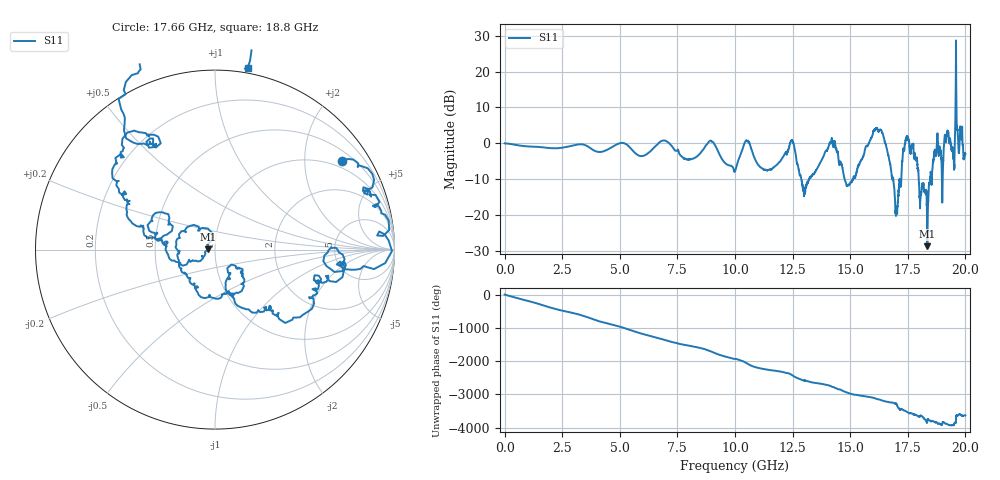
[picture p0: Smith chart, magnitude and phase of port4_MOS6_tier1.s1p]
! Created with skrf 1.8.0 (http://scikit-rf.org).
# GHz S RI R 50.0
!freq ReS11 ImS11
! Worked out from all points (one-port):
!   10001 points, 1 MHz to 20 GHz, reference 50 ohm
!   lowest |S11| = -28.7 dB at 18.35 GHz (marker M1), VSWR 1.08, Z = 46.5 + j0.142 ohm
!   |S11| at or under -10 dB: 12.88 GHz to 13.22 GHz (345.9 MHz wide, 2.65 % of centre); 14.76 GHz to 15.1 GHz (349.2 MHz wide, 2.34 % of centre); 17.98 GHz to 18.47 GHz (493.9 MHz wide, 2.71 % of centre) (the widest 3 of 9)
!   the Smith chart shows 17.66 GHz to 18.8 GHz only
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0.001  0.9967 -0.00577
0.8649568  -0.8834 -0.2188
1.39293  -0.0996 0.8868
1.812909  0.8618 0.0788
2.500875  -0.4786 -0.7212
3.318834  -0.2123 0.9423
3.724814  0.8474 0.1011
4.218789  -0.2279 -0.7262
5.00075  -0.4078 0.913
5.850708  0.1709 -0.6455
6.876656  -0.0248 1.091
7.500625  0.7292 -0.3173
8.60857  -0.8002 0.079
8.954552  -0.00162 1.086
10.0005  -0.2856 -0.2915
10.51647  -0.0543 1.07
11.26444  0.0686 -0.4225
12.50038  0.0554 1.065
15.00025  -0.0274 -0.2746
15.9322  -1.033 0.626
16.20419  -0.074 1.512
16.84216  0.3211 -0.0138
17.50013  0.6463 0.9408
18.34808  -0.0365 0.00152
19.32203  0.7691 0.7246
19.49003  0.4692 0.4384
19.69202  0.816 -0.5131
20  0.6001 -0.3783
